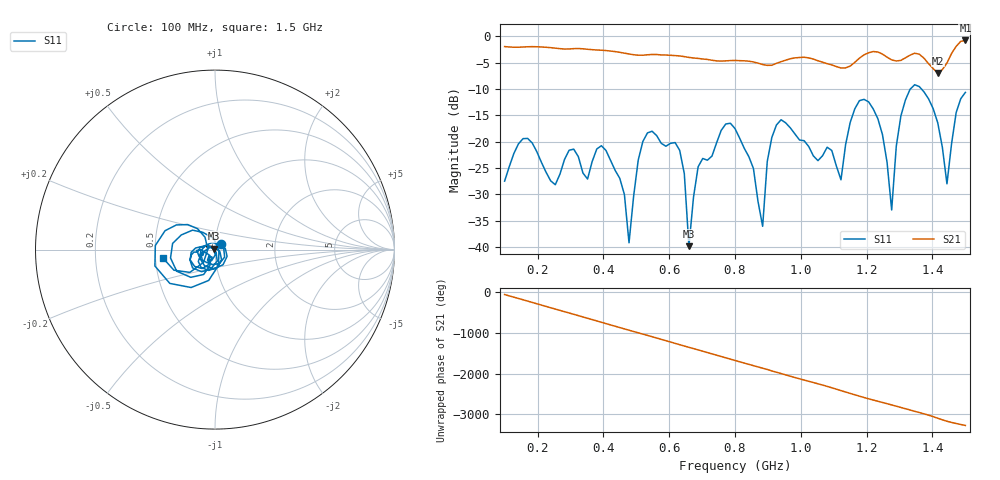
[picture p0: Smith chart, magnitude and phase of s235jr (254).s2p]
! NanoVNA-App
! Date: 2025-09-25 15:06:08
! Start: 100MHz Stop: 1,5GHz Points: 101
! S-Parameter data: F S11 S21 S12 S22
# Hz S RI R 50
!  Frequency  S11_Real  S11_Imag  S21_Real  S21_Imag  S12_Real  S12_Imag  S22_Real  S22_Imag
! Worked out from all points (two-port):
!   101 points, 100 MHz to 1.5 GHz, reference 50 ohm
!   highest |S21| = -0.80 dB at 1.5 GHz (marker M1); lowest = -7.0 dB at 1.416 GHz (marker M2)
!   |S21| within 3 dB of the highest: start of sweep to 638.7 MHz; 1.186 GHz to 1.258 GHz (71.91 MHz wide, 5.88 % of centre) (the widest 2 of 4)
!   lowest |S11| = -39.8 dB at 660 MHz (marker M3), VSWR 1.02, Z = 49.2 + j0.595 ohm
!   |S11| at or under -10 dB: start of sweep to 1.333 GHz; 1.366 GHz to end of sweep
!   S12 and S22 are empty: the file has one direction only
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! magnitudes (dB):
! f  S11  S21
! 100 MHz  -27.5  -2.0
! 156 MHz  -19.4  -2.0
! 338 MHz  -25.9  -2.4
! 408 MHz  -21.7  -2.7
! 478 MHz  -39.2  -3.4
! 520 MHz  -20.0  -3.6
! 576 MHz  -20.3  -3.5
! 632 MHz  -21.6  -3.7
! 660 MHz  -39.8  -4.0
! 688 MHz  -24.7  -4.2
! 800 MHz  -17.5  -4.6
! 884 MHz  -36.0  -5.4
! 926 MHz  -16.8  -5.1
! 1.038 GHz  -22.7  -4.3
! 1.122 GHz  -27.2  -6.0
! 1.206 GHz  -12.4  -3.1
! 1.276 GHz  -32.9  -4.5
! 1.304 GHz  -15.1  -4.6
! 1.332 GHz  -10.0  -3.6
! 1.416 GHz  -16.4  -7.0
! 1.444 GHz  -28.0  -5.1
! 1.5 GHz  -10.6  -0.8
